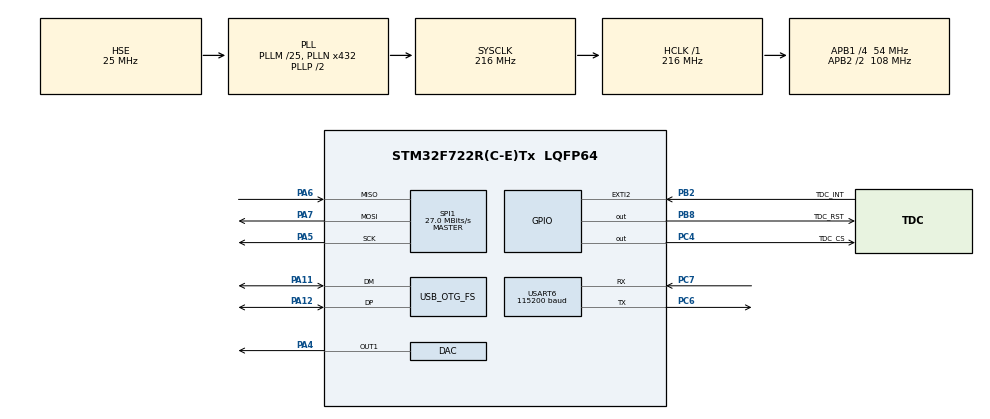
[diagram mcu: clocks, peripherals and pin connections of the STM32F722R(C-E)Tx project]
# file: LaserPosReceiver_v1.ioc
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CORTEX_M7.default_mode_Activation=1
Dma.Request0=USART6_TX
Dma.Request1=USART6_RX
Dma.USART6_RX.1.Direction=DMA_PERIPH_TO_MEMORY
Dma.USART6_RX.1.FIFOMode=DMA_FIFOMODE_DISABLE
Dma.USART6_RX.1.Instance=DMA2_Stream1
Dma.USART6_RX.1.MemDataAlignment=DMA_MDATAALIGN_BYTE
Dma.USART6_RX.1.MemInc=DMA_MINC_ENABLE
Dma.USART6_RX.1.Mode=DMA_NORMAL
Dma.USART6_RX.1.PeriphDataAlignment=DMA_PDATAALIGN_BYTE
Dma.USART6_RX.1.PeriphInc=DMA_PINC_DISABLE
Dma.USART6_RX.1.Priority=DMA_PRIORITY_LOW
Dma.USART6_TX.0.Direction=DMA_MEMORY_TO_PERIPH
Dma.USART6_TX.0.FIFOMode=DMA_FIFOMODE_DISABLE
Dma.USART6_TX.0.Instance=DMA2_Stream6
Dma.USART6_TX.0.MemDataAlignment=DMA_MDATAALIGN_BYTE
Dma.USART6_TX.0.MemInc=DMA_MINC_ENABLE
Dma.USART6_TX.0.Mode=DMA_NORMAL
Dma.USART6_TX.0.PeriphDataAlignment=DMA_PDATAALIGN_BYTE
Dma.USART6_TX.0.PeriphInc=DMA_PINC_DISABLE
Dma.USART6_TX.0.Priority=DMA_PRIORITY_LOW
Mcu.Family=STM32F7
Mcu.Name=STM32F722R(C-E)Tx
Mcu.Package=LQFP64
NVIC.DMA2_Stream1_IRQn=true\:0\:0\:false\:false\:true\:false\:true\:true
NVIC.DMA2_Stream6_IRQn=true\:0\:0\:false\:false\:true\:false\:true\:true
NVIC.EXTI2_IRQn=true\:0\:0\:false\:false\:true\:true\:true\:true
NVIC.OTG_FS_IRQn=true\:0\:0\:false\:false\:true\:false\:true\:true
NVIC.PriorityGroup=NVIC_PRIORITYGROUP_4
NVIC.USART6_IRQn=true\:0\:0\:false\:false\:true\:true\:true\:true
PA11.Mode=Device_Only
PA11.Signal=USB_OTG_FS_DM
PA12.Mode=Device_Only
PA12.Signal=USB_OTG_FS_DP
PA4.Signal=COMP_DAC1_group
PA5.Mode=Full_Duplex_Master
PA5.Signal=SPI1_SCK
PA6.GPIO_PuPd=GPIO_NOPULL
PA6.GPIO_Speed=GPIO_SPEED_FREQ_LOW
PA6.Mode=Full_Duplex_Master
PA6.Signal=SPI1_MISO
PA7.Mode=Full_Duplex_Master
PA7.Signal=SPI1_MOSI
PB2.GPIO_Label=TDC_INT
PB2.GPIO_ModeDefaultEXTI=GPIO_MODE_IT_FALLING
PB2.GPIO_PuPd=GPIO_PULLUP
PB2.Signal=GPXTI2
PB8.GPIO_Label=TDC_RST
PB8.GPIO_Speed=GPIO_SPEED_FREQ_VERY_HIGH
PB8.Signal=GPIO_Output
PC4.GPIO_Label=TDC_CS
PC4.GPIO_Speed=GPIO_SPEED_FREQ_VERY_HIGH
PC4.Signal=GPIO_Output
PC6.Mode=Asynchronous
PC6.Signal=USART6_TX
PC7.Mode=Asynchronous
PC7.Signal=USART6_RX
PH0-OSC_IN.Mode=HSE-External-Oscillator
PH0-OSC_IN.Signal=RCC_OSC_IN
PH1-OSC_OUT.Mode=HSE-External-Oscillator
PH1-OSC_OUT.Signal=RCC_OSC_OUT
ProjectManager.HeapSize=0x200
ProjectManager.StackSize=0x400
ProjectManager.TargetToolchain=STM32CubeIDE
RCC.AHBFreq_Value=216000000
RCC.APB1CLKDivider=RCC_HCLK_DIV4
RCC.APB1Freq_Value=54000000
RCC.APB1TimFreq_Value=108000000
RCC.APB2CLKDivider=RCC_HCLK_DIV2
RCC.APB2Freq_Value=108000000
RCC.APB2TimFreq_Value=216000000
RCC.CortexFreq_Value=216000000
RCC.HCLKFreq_Value=216000000
RCC.HSE_VALUE=25000000
RCC.HSI_VALUE=16000000
RCC.LSE_VALUE=32768
RCC.PLLM=25
RCC.PLLN=432
RCC.PLLQ=9
RCC.SYSCLKFreq_VALUE=216000000
RCC.SYSCLKSource=RCC_SYSCLKSOURCE_PLLCLK
RCC.USBFreq_Value=48000000
RCC.VCOOutputFreq_Value=432000000
SH.COMP_DAC1_group.0=DAC_OUT1,DAC_OUT1
SPI1.BaudRatePrescaler=SPI_BAUDRATEPRESCALER_4
SPI1.CalculateBaudRate=27.0 MBits/s
SPI1.DataSize=SPI_DATASIZE_8BIT
SPI1.Direction=SPI_DIRECTION_2LINES
SPI1.Mode=SPI_MODE_MASTER
SPI1.NSSPMode=SPI_NSS_PULSE_DISABLE
SPI1.VirtualType=VM_MASTER
USART6.BaudRate=115200
USART6.DMADisableonRxErrorParam=ADVFEATURE_DMA_DISABLEONRXERROR
USART6.VirtualMode=VM_ASYNC
USB_DEVICE.CLASS_NAME_FS=CDC
USB_DEVICE.VirtualMode-CDC_FS=Cdc
USB_DEVICE.VirtualModeFS=Cdc_FS
USB_OTG_FS.VirtualMode=Device_Only
VP_USB_DEVICE_VS_USB_DEVICE_CDC_FS.Mode=CDC_FS
board=custom

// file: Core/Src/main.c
/* USER CODE BEGIN Header */
/**
  ******************************************************************************
  * @file           : main.c
  * @brief          : Main program body
  ******************************************************************************
  * @attention
  *
  * Copyright (c) 2026 STMicroelectronics.
  * All rights reserved.
  *
  * This software is licensed under terms that can be found in the LICENSE file
  * in the root directory of this software component.
  * If no LICENSE file comes with this software, it is provided AS-IS.
  *
  ******************************************************************************
  */
/* USER CODE END Header */
#include "main.h"
#include "usb_device.h"

/* USER CODE BEGIN Includes */
#include <stdint.h>

/* USER CODE END Includes */

/* USER CODE BEGIN PTD */
typedef signed char        int8_t;
typedef short              int16_t;
/* USER CODE END PTD */

DAC_HandleTypeDef hdac;

SPI_HandleTypeDef hspi1;

DMA_HandleTypeDef hdma_usart6_tx;
DMA_HandleTypeDef hdma_usart6_rx;

/* USER CODE BEGIN PV */
//TIM_HandleTypeDef htim2;
char str_tx[128];

_TDC_DATA_STRUCT G_tdcData;
_TDC_DATA_STRUCT G_prevTdcData;
uint8_t  m_beacons    [TDC_FIFO_LEN]            = {0};
uint32_t m_fifoTimes  [TDC_FIFO_LEN][FIFO_LEN]  = {0};
uint32_t m_result     [TDC_FIFO_LEN];
uint32_t m_fifoPause  [FIFO_LEN]                = {0};
uint32_t m_pauseBetweenPacks = 0;
uint16_t m_tdcWatchdogTm = 0;
uint8_t  m_beaconsQty;
uint8_t  m_seconds = 0;
uint16_t m_packFrq = 0;
uint16_t m_packCnt = 0;
uint8_t m_reportFrqDivider = 30; //Делитель таймера выдачи отчетов

uint8_t m_uartRxBuff[16];

/* USER CODE END PV */

void SystemClock_Config(void);
static void MPU_Config(void);
static void MX_GPIO_Init(void);
static void MX_DMA_Init(void);
static void MX_SPI1_Init(void);
static void MX_DAC_Init(void);
static void MX_USART6_UART_Init(void);
/* USER CODE BEGIN PFP */

int  ACheckData(int bcnQty);
void ASearchMissingOneBeacon();
void ASearchMissingTwoBeacon();
void ASearchMissingThreeBeacon();

/* USER CODE END PFP */

/* USER CODE BEGIN 0 */
void AShiftFifo(){
  uint32_t prevVal[PULSE_QTY-1];
  static uint64_t summVal[PULSE_QTY-1] = {0};
  static uint64_t summDelta = 0;
  static uint32_t prevDelta = 0;

  for(int k=0; k<PULSE_QTY-1; k++){
    prevVal[k] = m_fifoTimes[k][FIFO_LEN-1];
    for(int i=FIFO_LEN-1; i>0; i--){
      m_fifoTimes[k][i] = m_fifoTimes[k][i-1];

    }
    m_fifoTimes[k][0] = (TM[k]>0) ? TM[k] : m_fifoTimes[k][1];
    summVal[k] += m_fifoTimes[k][0];
    summVal[k] -= prevVal[k];
    m_result[k] = summVal[k]/FIFO_LEN;
  }

  prevDelta = m_fifoPause[FIFO_LEN-1];
  for(int i=FIFO_LEN-1; i>0; i--){
    m_fifoPause[i] = m_fifoPause[i-1];
  }
  m_fifoPause[0] = G_tdcData.packPause;
  summDelta += m_fifoPause[0];
  summDelta -= prevDelta;
  m_pauseBetweenPacks = summDelta/FIFO_LEN;
}

void ACalcPackFrqDivider(){
  G_uartPackDiv = m_packFrq/G_uartPackFrq;
}

void APrintTdcData(){
    PRT.bcsQty = m_beaconsQty;

    for(int i=0; i<PULSE_QTY; i++){
      PRT.bcs[i] = m_beacons[i];
      PRT.tm [i] = m_result[i];
    }

    APrintData(PRINT_PARAM_TDC, 0);
}

void HAL_UART_RxCpltCallback(UART_HandleTypeDef *huart)
{
//    if (huart->RxXferCount > 0) {
	char str[16] = {0};

    if(huart->RxXferCount==0){
    	HAL_UART_Transmit_DMA(&huart6, m_uartRxBuff, 3);
    	HAL_UART_Receive_DMA(huart, m_uartRxBuff, 3);
    }

}

void HAL_GPIO_EXTI_Callback(uint16_t GPIO_Pin){
  static int cnt = 0;
  static int missBcn = 0;

  m_tdcWatchdogTm = 0;
  m_packCnt++;
  m_beaconsQty = ATdcRead();

  if(m_beaconsQty < PULSE_QTY){
    ACheckData(m_beaconsQty);
  }else{
    missBcn = 0;
    for(int i=0; i<PULSE_QTY; i++)m_beacons[i] = 1;
  }
  AShiftFifo();

  if(!(++cnt%G_uartPackDiv))APrintTdcData();

}

#define S_P_D 15 //shif prev data
#define D_TM 1000 //delta tm

int ACheckBeacon1(){

  if((TM[0]> (m_fifoTimes[1][S_P_D]-D_TM)) && (TM[0] < (m_fifoTimes[1][S_P_D] + D_TM))){
        m_beacons[1] = 1;
        m_beacons[2] = 1;
        m_beacons[3] = 1;

        TM[2] = TM[1];
        TM[1] = TM[0];
        TM[0] = FT[0][1];
        return 1;
    }
  return 0;
}

int ACheckBeacon2(){
  if((TM[0]> ((FT[0][S_P_D]+FT[1][S_P_D])-D_TM)) && (TM[0] < (FT[0][S_P_D]+FT[1][S_P_D]) + D_TM)){
        m_beacons[0] = 1;
        m_beacons[2] = 1;
        m_beacons[3] = 1;

        TM[2] = TM[1];

        TM[0] = FT[0][1];
        TM[1] = FT[1][1];

        return 1;
    }
  return 0;
}

int ACheckBeacon3(){
  if((TM[1]> ((FT[1][S_P_D]+FT[2][S_P_D])-D_TM)) && (TM[1] < (FT[1][S_P_D]+FT[2][S_P_D]) + D_TM)){
        m_beacons[0] = 1;
        m_beacons[1] = 1;
        m_beacons[3] = 1;

        TM[2] = FT[2][1];
        TM[1] = FT[1][1];
        return 1;
    }
  return 0;
}

int ACheckBeacon4(){
  if((TM[1]> ((FT[1][S_P_D])-D_TM)) && (TM[1] < (FT[1][S_P_D]) + D_TM)){
        m_beacons[0] = 1;
        m_beacons[1] = 1;
        m_beacons[2] = 1;

        TM[2] = FT[2][1];
        return 1;
    }
  return 0;
}

void ASearchMissingOneBeacon(){
  if(ACheckBeacon3())return;
  if(ACheckBeacon1())return;
  if(ACheckBeacon2())return;

  if(ACheckBeacon4())return;
}

void ASearchMissingTwoBeacon(){

}

void ASearchMissingThreeBeacon(){

}

int ACheckData(int bcnQty){
  for(int i=0; i<PULSE_QTY; i++)m_beacons[i] = 0;
  ASearchMissingOneBeacon();
  return 0;
}

void HAL_IncTick(void)
{
  static uint16_t cnt = 0;
  char str[16];
  cnt++;
  if(cnt == 1000){
    m_packFrq = m_packCnt;
    m_packCnt = 0;
    G_seconds++;
    cnt = 0;
    if((G_uartPackFrq > 0)&&(m_packFrq > G_uartPackFrq)){
      G_uartPackDiv = m_packFrq/G_uartPackFrq;

    }
    APrintData(PRINT_PARAM_CNT, 0);
  }
  if(m_tdcWatchdogTm++ > 100){
    // __disable_irq();
     ATdcInit();
    // __enable_irq();
     ATdcRead();
    m_tdcWatchdogTm = 0;
  }
  uwTick += uwTickFreq;
}

void HAL_UARTEx_RxEventCallback(UART_HandleTypeDef *huart, uint16_t Size)
{
    int RxDataLen = Size;
    // HAL_UART_Transmit_DMA(&huart6, m_uartRxBuff, RxDataLen);
    HAL_UARTEx_ReceiveToIdle_IT(&huart6, m_uartRxBuff, 16);

    int res = AParseUartData(m_uartRxBuff);
    switch(res){
      case CMD_CMPSET: HAL_DAC_SetValue(&hdac,DAC_CHANNEL_1,DAC_ALIGN_12B_R, G_dacVal); break;
      case CMD_CMPGET: break;
      case CMD_FPSSET: break;
      case CMD_FPSGET: break;
    }

}
/* USER CODE END 0 */

int main(void)
{

  /* MPU Configuration--------------------------------------------------------*/
  MPU_Config();

  /* MCU Configuration--------------------------------------------------------*/

  /* Reset of all peripherals, Initializes the Flash interface and the Systick. */
  HAL_Init();

  /* Configure the system clock */
  SystemClock_Config();

  /* USER CODE BEGIN SysInit */
  uint8_t q = 0;
  /* USER CODE END SysInit */

  /* Initialize all configured peripherals */
  MX_GPIO_Init();
  MX_DMA_Init();
  MX_SPI1_Init();
  MX_USB_DEVICE_Init();
  MX_DAC_Init();
  MX_USART6_UART_Init();
  /* USER CODE BEGIN 2 */
  ATdcInit();
  for(int i=0; i<4; i++)ATdcRead(&q);
  HAL_GPIO_WritePin(TDC_RST_GPIO_Port, TDC_RST_Pin, 1);

  HAL_DAC_Start(&hdac,DAC_CHANNEL_1);
  HAL_DAC_SetValue(&hdac,DAC_CHANNEL_1,DAC_ALIGN_12B_R, G_dacVal);

  HAL_UARTEx_ReceiveToIdle_IT(&huart6, m_uartRxBuff, 16);
//  HAL_UART_Receive_DMA(&huart6, m_uartRxBuff, 3);
// __HAL_UART_ENABLE_IT(&huart6, UART_IT_IDLE);
  /* USER CODE END 2 */

  /* Infinite loop */
  while (1)
  {

  }
}

void SystemClock_Config(void)
{
  RCC_OscInitTypeDef RCC_OscInitStruct = {0};
  RCC_ClkInitTypeDef RCC_ClkInitStruct = {0};

  /** Configure the main internal regulator output voltage
  */
  __HAL_RCC_PWR_CLK_ENABLE();
  __HAL_PWR_VOLTAGESCALING_CONFIG(PWR_REGULATOR_VOLTAGE_SCALE1);

  /** Initializes the RCC Oscillators according to the specified parameters
  * in the RCC_OscInitTypeDef structure.
  */
  RCC_OscInitStruct.OscillatorType = RCC_OSCILLATORTYPE_HSE;
  RCC_OscInitStruct.HSEState = RCC_HSE_ON;
  RCC_OscInitStruct.PLL.PLLState = RCC_PLL_ON;
  RCC_OscInitStruct.PLL.PLLSource = RCC_PLLSOURCE_HSE;
  RCC_OscInitStruct.PLL.PLLM = 25;
  RCC_OscInitStruct.PLL.PLLN = 432;
  RCC_OscInitStruct.PLL.PLLP = RCC_PLLP_DIV2;
  RCC_OscInitStruct.PLL.PLLQ = 9;
  if (HAL_RCC_OscConfig(&RCC_OscInitStruct) != HAL_OK)
  {
    Error_Handler();
  }

  /** Activate the Over-Drive mode
  */
  if (HAL_PWREx_EnableOverDrive() != HAL_OK)
  {
    Error_Handler();
  }

  /** Initializes the CPU, AHB and APB buses clocks
  */
  RCC_ClkInitStruct.ClockType = RCC_CLOCKTYPE_HCLK|RCC_CLOCKTYPE_SYSCLK
                              |RCC_CLOCKTYPE_PCLK1|RCC_CLOCKTYPE_PCLK2;
  RCC_ClkInitStruct.SYSCLKSource = RCC_SYSCLKSOURCE_PLLCLK;
  RCC_ClkInitStruct.AHBCLKDivider = RCC_SYSCLK_DIV1;
  RCC_ClkInitStruct.APB1CLKDivider = RCC_HCLK_DIV4;
  RCC_ClkInitStruct.APB2CLKDivider = RCC_HCLK_DIV2;

  if (HAL_RCC_ClockConfig(&RCC_ClkInitStruct, FLASH_LATENCY_7) != HAL_OK)
  {
    Error_Handler();
  }
}

static void MX_DAC_Init(void)
{

  DAC_ChannelConfTypeDef sConfig = {0};

  /** DAC Initialization
  */
  hdac.Instance = DAC;
  if (HAL_DAC_Init(&hdac) != HAL_OK)
  {
    Error_Handler();
  }

  /** DAC channel OUT1 config
  */
  sConfig.DAC_Trigger = DAC_TRIGGER_NONE;
  sConfig.DAC_OutputBuffer = DAC_OUTPUTBUFFER_ENABLE;
  if (HAL_DAC_ConfigChannel(&hdac, &sConfig, DAC_CHANNEL_1) != HAL_OK)
  {
    Error_Handler();
  }

}

static void MX_SPI1_Init(void)
{

  /* SPI1 parameter configuration*/
  hspi1.Instance = SPI1;
  hspi1.Init.Mode = SPI_MODE_MASTER;
  hspi1.Init.Direction = SPI_DIRECTION_2LINES;
  hspi1.Init.DataSize = SPI_DATASIZE_8BIT;
  hspi1.Init.CLKPolarity = SPI_POLARITY_LOW;
  hspi1.Init.CLKPhase = SPI_PHASE_1EDGE;
  hspi1.Init.NSS = SPI_NSS_SOFT;
  hspi1.Init.BaudRatePrescaler = SPI_BAUDRATEPRESCALER_4;
  hspi1.Init.FirstBit = SPI_FIRSTBIT_MSB;
  hspi1.Init.TIMode = SPI_TIMODE_DISABLE;
  hspi1.Init.CRCCalculation = SPI_CRCCALCULATION_DISABLE;
  hspi1.Init.CRCPolynomial = 7;
  hspi1.Init.CRCLength = SPI_CRC_LENGTH_DATASIZE;
  hspi1.Init.NSSPMode = SPI_NSS_PULSE_DISABLE;
  if (HAL_SPI_Init(&hspi1) != HAL_OK)
  {
    Error_Handler();
  }

}

static void MX_USART6_UART_Init(void)
{

  huart6.Instance = USART6;
  huart6.Init.BaudRate = 115200;
  huart6.Init.WordLength = UART_WORDLENGTH_8B;
  huart6.Init.StopBits = UART_STOPBITS_1;
  huart6.Init.Parity = UART_PARITY_NONE;
  huart6.Init.Mode = UART_MODE_TX_RX;
  huart6.Init.HwFlowCtl = UART_HWCONTROL_NONE;
  huart6.Init.OverSampling = UART_OVERSAMPLING_16;
  huart6.Init.OneBitSampling = UART_ONE_BIT_SAMPLE_DISABLE;
  huart6.AdvancedInit.AdvFeatureInit = UART_ADVFEATURE_DMADISABLEONERROR_INIT;
  huart6.AdvancedInit.DMADisableonRxError = UART_ADVFEATURE_DMA_DISABLEONRXERROR;
  if (HAL_UART_Init(&huart6) != HAL_OK)
  {
    Error_Handler();
  }

}

static void MX_DMA_Init(void)
{

  /* DMA controller clock enable */
  __HAL_RCC_DMA2_CLK_ENABLE();

  /* DMA interrupt init */
  /* DMA2_Stream1_IRQn interrupt configuration */
  HAL_NVIC_SetPriority(DMA2_Stream1_IRQn, 0, 0);
  HAL_NVIC_EnableIRQ(DMA2_Stream1_IRQn);
  /* DMA2_Stream6_IRQn interrupt configuration */
  HAL_NVIC_SetPriority(DMA2_Stream6_IRQn, 0, 0);
  HAL_NVIC_EnableIRQ(DMA2_Stream6_IRQn);

}

static void MX_GPIO_Init(void)
{
  GPIO_InitTypeDef GPIO_InitStruct = {0};

  /* GPIO Ports Clock Enable */
  __HAL_RCC_GPIOH_CLK_ENABLE();
  __HAL_RCC_GPIOA_CLK_ENABLE();
  __HAL_RCC_GPIOC_CLK_ENABLE();
  __HAL_RCC_GPIOB_CLK_ENABLE();

  /*Configure GPIO pin Output Level */
  HAL_GPIO_WritePin(TDC_CS_GPIO_Port, TDC_CS_Pin, GPIO_PIN_RESET);

  /*Configure GPIO pin Output Level */
  HAL_GPIO_WritePin(TDC_RST_GPIO_Port, TDC_RST_Pin, GPIO_PIN_RESET);

  /*Configure GPIO pin : TDC_CS_Pin */
  GPIO_InitStruct.Pin = TDC_CS_Pin;
  GPIO_InitStruct.Mode = GPIO_MODE_OUTPUT_PP;
  GPIO_InitStruct.Pull = GPIO_NOPULL;
  GPIO_InitStruct.Speed = GPIO_SPEED_FREQ_VERY_HIGH;
  HAL_GPIO_Init(TDC_CS_GPIO_Port, &GPIO_InitStruct);

  /*Configure GPIO pin : TDC_INT_Pin */
  GPIO_InitStruct.Pin = TDC_INT_Pin;
  GPIO_InitStruct.Mode = GPIO_MODE_IT_FALLING;
  GPIO_InitStruct.Pull = GPIO_PULLUP;
  HAL_GPIO_Init(TDC_INT_GPIO_Port, &GPIO_InitStruct);

  /*Configure GPIO pin : TDC_RST_Pin */
  GPIO_InitStruct.Pin = TDC_RST_Pin;
  GPIO_InitStruct.Mode = GPIO_MODE_OUTPUT_PP;
  GPIO_InitStruct.Pull = GPIO_NOPULL;
  GPIO_InitStruct.Speed = GPIO_SPEED_FREQ_VERY_HIGH;
  HAL_GPIO_Init(TDC_RST_GPIO_Port, &GPIO_InitStruct);

  /* EXTI interrupt init*/
  HAL_NVIC_SetPriority(EXTI2_IRQn, 0, 0);
  HAL_NVIC_EnableIRQ(EXTI2_IRQn);

}

/* USER CODE BEGIN 4 */
//static void MX_TIM2_Init(void)
//{
//
//  /* USER CODE BEGIN TIM2_Init 0 */
//
//  /* USER CODE END TIM2_Init 0 */
//
//  TIM_ClockConfigTypeDef sClockSourceConfig = {0};
//  TIM_MasterConfigTypeDef sMasterConfig = {0};
//
//  /* USER CODE BEGIN TIM2_Init 1 */
//
//  /* USER CODE END TIM2_Init 1 */
//  htim2.Instance = TIM2;
//  htim2.Init.Prescaler = 21600;
//  htim2.Init.CounterMode = TIM_COUNTERMODE_UP;
//  htim2.Init.Period = 100;
//  htim2.Init.ClockDivision = TIM_CLOCKDIVISION_DIV1;
//  htim2.Init.AutoReloadPreload = TIM_AUTORELOAD_PRELOAD_DISABLE;
//  if (HAL_TIM_Base_Init(&htim2) != HAL_OK)
//  {
//    Error_Handler();
//  }
//  sClockSourceConfig.ClockSource = TIM_CLOCKSOURCE_INTERNAL;
//  if (HAL_TIM_ConfigClockSource(&htim2, &sClockSourceConfig) != HAL_OK)
//  {
//    Error_Handler();
//  }
//  sMasterConfig.MasterOutputTrigger = TIM_TRGO_RESET;
//  sMasterConfig.MasterSlaveMode = TIM_MASTERSLAVEMODE_ENABLE;
//  if (HAL_TIMEx_MasterConfigSynchronization(&htim2, &sMasterConfig) != HAL_OK)
//  {
//    Error_Handler();
//  }
//  /* USER CODE BEGIN TIM2_Init 2 */
//
//  /* USER CODE END TIM2_Init 2 */
//
//}

/* USER CODE END 4 */

 /* MPU Configuration */

void MPU_Config(void)
{
  MPU_Region_InitTypeDef MPU_InitStruct = {0};

  /* Disables the MPU */
  HAL_MPU_Disable();

  /** Initializes and configures the Region and the memory to be protected
  */
  MPU_InitStruct.Enable = MPU_REGION_ENABLE;
  MPU_InitStruct.Number = MPU_REGION_NUMBER0;
  MPU_InitStruct.BaseAddress = 0x0;
  MPU_InitStruct.Size = MPU_REGION_SIZE_4GB;
  MPU_InitStruct.SubRegionDisable = 0x87;
  MPU_InitStruct.TypeExtField = MPU_TEX_LEVEL0;
  MPU_InitStruct.AccessPermission = MPU_REGION_NO_ACCESS;
  MPU_InitStruct.DisableExec = MPU_INSTRUCTION_ACCESS_DISABLE;
  MPU_InitStruct.IsShareable = MPU_ACCESS_SHAREABLE;
  MPU_InitStruct.IsCacheable = MPU_ACCESS_NOT_CACHEABLE;
  MPU_InitStruct.IsBufferable = MPU_ACCESS_NOT_BUFFERABLE;

  HAL_MPU_ConfigRegion(&MPU_InitStruct);
  /* Enables the MPU */
  HAL_MPU_Enable(MPU_PRIVILEGED_DEFAULT);

}

void Error_Handler(void)
{
  __disable_irq();
  while (1)
  {
  }
}
